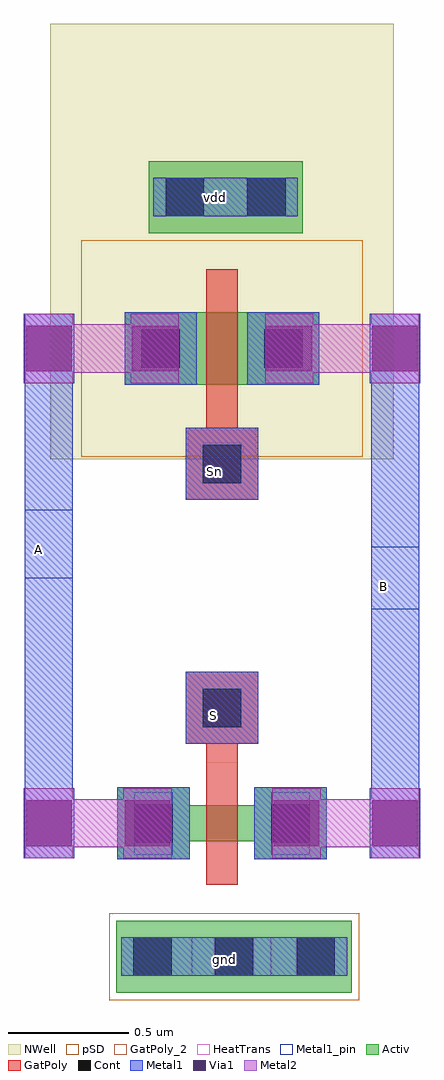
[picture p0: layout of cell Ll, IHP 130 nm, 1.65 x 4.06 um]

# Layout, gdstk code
from math import pi, radians
import gdstk
lib = gdstk.Library(unit=1e-6, precision=5e-09)
def R(c, l, rs):  # rectangles x0, y0, x1, y1
    for r in rs: c.add(gdstk.rectangle(r[:2], r[2:], *l))
Activ = (1, 0)
GatPoly = (5, 0)
GatPoly_2 = (5, 2)
Cont = (6, 0)
Metal1 = (8, 0)
Metal1_pin = (8, 2)
Metal2 = (10, 0)
pSD = (14, 0)
Via1 = (19, 0)
NWell = (31, 0)
HeatTrans = (51, 0)

pmos = lib.new_cell('pmos')
R(pmos, Activ, [(0,0,0.3,0.3), (0,0,0.3,0.3), (0,0,0.81,0.3), (0,0,0.81,0.3), (0.51,0,0.81,0.3), (0.51,0,0.81,0.3)])
R(pmos, GatPoly, [(0.34,-0.18,0.47,0.48), (0.34,-0.18,0.47,0.48), (0.34,-0.18,0.47,0.48), (0.34,-0.18,0.47,0.48), (0.34,-0.18,0.47,0.48), (0.34,-0.18,0.47,0.48)])
R(pmos, Cont, [(0.07,0.07,0.23,0.23), (0.07,0.07,0.23,0.23), (0.58,0.07,0.74,0.23), (0.58,0.07,0.74,0.23)])
R(pmos, Metal1, [(0.07,0,0.23,0.3), (0.07,0,0.23,0.3), (0.07,0,0.23,0.3), (0.07,0,0.23,0.3), (0.07,0,0.23,0.3), (0.07,0,0.23,0.3), (0.58,0,0.74,0.3), (0.58,0,0.74,0.3), (0.58,0,0.74,0.3), (0.58,0,0.74,0.3), (0.58,0,0.74,0.3), (0.58,0,0.74,0.3)])
R(pmos, pSD, [(-0.18,-0.3,0.99,0.6), (-0.18,-0.3,0.99,0.6)])
R(pmos, NWell, [(-0.31,-0.31,1.12,0.61), (-0.31,-0.31,1.12,0.61)])
R(pmos, HeatTrans, [(0.34,-0.18,0.47,0.48), (0.34,-0.18,0.47,0.48)])
pmos.add(gdstk.Label('pmos', (0.405,0.15), layer=63, texttype=0))
pmos.add(gdstk.Label('pmos', (0.405,0.15), layer=63, texttype=0))
pmos.add(gdstk.Label('pmos', (0.405,0.15), layer=51, texttype=0))
pmos.add(gdstk.Label('pmos', (0.405,0.15), layer=51, texttype=0))

nmos = lib.new_cell('nmos')
R(nmos, Activ, [(0,0,0.3,0.3), (0,0,0.3,0.3), (0.57,0,0.87,0.3), (0.57,0,0.87,0.3), (0,0.075,0.87,0.225), (0,0.075,0.87,0.225)])
R(nmos, GatPoly, [(0.37,-0.105,0.5,0.405), (0.37,-0.105,0.5,0.405)])
R(nmos, GatPoly_2, [(0.37,-0.105,0.5,0.405), (0.37,-0.105,0.5,0.405), (0.37,-0.105,0.5,0.405), (0.37,-0.105,0.5,0.405)])
R(nmos, Cont, [(0.07,0.07,0.23,0.23), (0.07,0.07,0.23,0.23), (0.64,0.07,0.8,0.23), (0.64,0.07,0.8,0.23)])
R(nmos, Metal1, [(0.07,0.02,0.23,0.28), (0.07,0.02,0.23,0.28), (0.64,0.02,0.8,0.28), (0.64,0.02,0.8,0.28)])
R(nmos, Metal1_pin, [(0.07,0.02,0.23,0.28), (0.07,0.02,0.23,0.28), (0.07,0.02,0.23,0.28), (0.07,0.02,0.23,0.28), (0.64,0.02,0.8,0.28), (0.64,0.02,0.8,0.28), (0.64,0.02,0.8,0.28), (0.64,0.02,0.8,0.28)])
R(nmos, HeatTrans, [(0.37,-0.105,0.5,0.405), (0.37,-0.105,0.5,0.405)])
nmos.add(gdstk.Label('nmos', (0.435,0.15), layer=63, texttype=0))
nmos.add(gdstk.Label('nmos', (0.435,0.15), layer=63, texttype=0))
nmos.add(gdstk.Label('nmos', (0.435,0.15), layer=51, texttype=0))
nmos.add(gdstk.Label('nmos', (0.435,0.15), layer=51, texttype=0))

via_stack = lib.new_cell('via_stack')
R(via_stack, GatPoly, [(-0.15,-0.15,0.15,0.15), (-0.15,-0.15,0.15,0.15)])
R(via_stack, Cont, [(-0.08,-0.08,0.08,0.08), (-0.08,-0.08,0.08,0.08)])
R(via_stack, Metal1, [(-0.13,-0.08,0.13,0.08), (-0.13,-0.08,0.13,0.08)])

via_stack_2 = lib.new_cell('via_stack$2')
R(via_stack_2, Activ, [(-0.49,-0.15,0.49,0.15), (-0.49,-0.15,0.49,0.15)])
R(via_stack_2, Cont, [(-0.42,-0.08,-0.26,0.08), (-0.42,-0.08,-0.26,0.08), (-0.08,-0.08,0.08,0.08), (-0.08,-0.08,0.08,0.08), (0.26,-0.08,0.42,0.08), (0.26,-0.08,0.42,0.08)])
R(via_stack_2, Metal1, [(-0.47,-0.08,0.47,0.08), (-0.47,-0.08,0.47,0.08)])

via_stack_3 = lib.new_cell('via_stack$3')
R(via_stack_3, Activ, [(-0.32,-0.15,0.32,0.15), (-0.32,-0.15,0.32,0.15)])
R(via_stack_3, Cont, [(-0.25,-0.08,-0.09,0.08), (-0.25,-0.08,-0.09,0.08), (0.09,-0.08,0.25,0.08), (0.09,-0.08,0.25,0.08)])
R(via_stack_3, Metal1, [(-0.3,-0.08,0.3,0.08), (-0.3,-0.08,0.3,0.08)])

via_stack_5 = lib.new_cell('via_stack$5')
R(via_stack_5, Metal1, [(-0.145,-0.105,0.145,0.105), (-0.145,-0.105,0.145,0.105)])
R(via_stack_5, Metal2, [(-0.145,-0.1,0.145,0.1), (-0.145,-0.1,0.145,0.1)])
R(via_stack_5, Via1, [(-0.095,-0.095,0.095,0.095), (-0.095,-0.095,0.095,0.095)])

c_ll = lib.new_cell('Ll')
R(c_ll, GatPoly, [(0.465,-0.275,0.595,-0.2), (0.465,-0.275,0.595,-0.2)])
R(c_ll, Metal1, [(0.095,-0.68,0.395,-0.38), (0.095,-0.68,0.395,-0.38), (0.665,-0.68,0.965,-0.38), (0.665,-0.68,0.965,-0.38), (0.38,-0.2,0.68,0.1), (0.38,-0.2,0.68,0.1), (0.38,0.815,0.68,1.115), (0.38,0.815,0.68,1.115), (0.125,1.295,0.425,1.595), (0.125,1.295,0.425,1.595), (0.635,1.295,0.935,1.595), (0.635,1.295,0.935,1.595)])
R(c_ll, Metal1_pin, [(0.405,-1.165,0.735,-1.005), (0.405,-1.165,0.735,-1.005), (0.38,-0.2,0.68,0.1), (0.38,-0.2,0.68,0.1), (1.15,0.36,1.35,0.62), (1.15,0.36,1.35,0.62), (-0.29,0.49,-0.09,0.775), (-0.29,0.49,-0.09,0.775), (0.38,0.815,0.68,1.115), (0.38,0.815,0.68,1.115), (0.455,1.995,0.635,2.155), (0.455,1.995,0.635,2.155)])
R(c_ll, pSD, [(0.06,-1.265,1.1,-0.905), (0.06,-1.265,1.1,-0.905)])
R(c_ll, NWell, [(-0.185,1.905,1.245,2.795), (-0.185,1.905,1.245,2.795)])
c_ll.add(gdstk.FlexPath([(-0.19,-0.385),(-0.19,1.59)], 0.2, ends="flush", simple_path=True, layer=8, datatype=0))  # Metal1
c_ll.add(gdstk.FlexPath([(1.25,-0.385),(1.25,1.59)], 0.2, ends="flush", simple_path=True, layer=8, datatype=0))  # Metal1
c_ll.add(gdstk.FlexPath([(-0.19,-0.385),(-0.19,1.59)], 0.2, ends="flush", simple_path=True, layer=8, datatype=0))  # Metal1
c_ll.add(gdstk.FlexPath([(1.25,-0.385),(1.25,1.59)], 0.2, ends="flush", simple_path=True, layer=8, datatype=0))  # Metal1
c_ll.add(gdstk.FlexPath([(-0.09,-0.53),(0.12,-0.53)], 0.2, ends="flush", simple_path=True, layer=10, datatype=0))  # Metal2
c_ll.add(gdstk.FlexPath([(0.94,-0.53),(1.15,-0.53)], 0.2, ends="flush", simple_path=True, layer=10, datatype=0))  # Metal2
c_ll.add(gdstk.FlexPath([(-0.09,1.445),(0.15,1.445)], 0.2, ends="flush", simple_path=True, layer=10, datatype=0))  # Metal2
c_ll.add(gdstk.FlexPath([(0.91,1.445),(1.15,1.445),(1.15,1.445)], 0.2, ends="flush", simple_path=True, layer=10, datatype=0))  # Metal2
c_ll.add(gdstk.FlexPath([(-0.09,-0.53),(0.12,-0.53)], 0.2, ends="flush", simple_path=True, layer=10, datatype=0))  # Metal2
c_ll.add(gdstk.FlexPath([(0.94,-0.53),(1.15,-0.53)], 0.2, ends="flush", simple_path=True, layer=10, datatype=0))  # Metal2
c_ll.add(gdstk.FlexPath([(-0.09,1.445),(0.15,1.445)], 0.2, ends="flush", simple_path=True, layer=10, datatype=0))  # Metal2
c_ll.add(gdstk.FlexPath([(0.91,1.445),(1.15,1.445),(1.15,1.445)], 0.2, ends="flush", simple_path=True, layer=10, datatype=0))  # Metal2
c_ll.add(gdstk.Reference(pmos, (0.125,1.295)))
c_ll.add(gdstk.Reference(nmos, (0.095,-0.68)))
c_ll.add(gdstk.Reference(via_stack, (0.53,0.965), rotation=pi))
c_ll.add(gdstk.Reference(via_stack, (0.53,-0.05)))
c_ll.add(gdstk.Reference(via_stack_2, (0.58,-1.085)))
c_ll.add(gdstk.Reference(via_stack_3, (0.545,2.075)))
c_ll.add(gdstk.Reference(via_stack_5, (0.25,1.445), rotation=3*pi/2))
c_ll.add(gdstk.Reference(via_stack_5, (0.84,-0.53), rotation=3*pi/2))
c_ll.add(gdstk.Reference(via_stack_5, (0.81,1.445), rotation=3*pi/2))
c_ll.add(gdstk.Reference(via_stack_5, (-0.19,-0.53), rotation=3*pi/2))
c_ll.add(gdstk.Reference(via_stack_5, (1.25,-0.53), rotation=3*pi/2))
c_ll.add(gdstk.Reference(via_stack_5, (1.25,1.445), rotation=3*pi/2))
c_ll.add(gdstk.Reference(via_stack_5, (-0.19,1.445), rotation=3*pi/2))
c_ll.add(gdstk.Reference(via_stack_5, (0.22,-0.53), rotation=3*pi/2))
c_ll.add(gdstk.Label('B', (1.2,0.455), layer=8, texttype=25))
c_ll.add(gdstk.Label('Sn', (0.5,0.935), layer=8, texttype=25))
c_ll.add(gdstk.Label('A', (-0.235,0.61), layer=8, texttype=25))
c_ll.add(gdstk.Label('gnd', (0.54,-1.095), layer=8, texttype=25))
c_ll.add(gdstk.Label('vdd', (0.505,2.075), layer=8, texttype=25))
c_ll.add(gdstk.Label('S', (0.495,-0.08), layer=8, texttype=25))
c_ll.add(gdstk.Label('B', (1.2,0.455), layer=8, texttype=25))
c_ll.add(gdstk.Label('Sn', (0.5,0.935), layer=8, texttype=25))
c_ll.add(gdstk.Label('A', (-0.235,0.61), layer=8, texttype=25))
c_ll.add(gdstk.Label('gnd', (0.54,-1.095), layer=8, texttype=25))
c_ll.add(gdstk.Label('vdd', (0.505,2.075), layer=8, texttype=25))
c_ll.add(gdstk.Label('S', (0.495,-0.08), layer=8, texttype=25))

lib.write_gds('Ll.gds')
